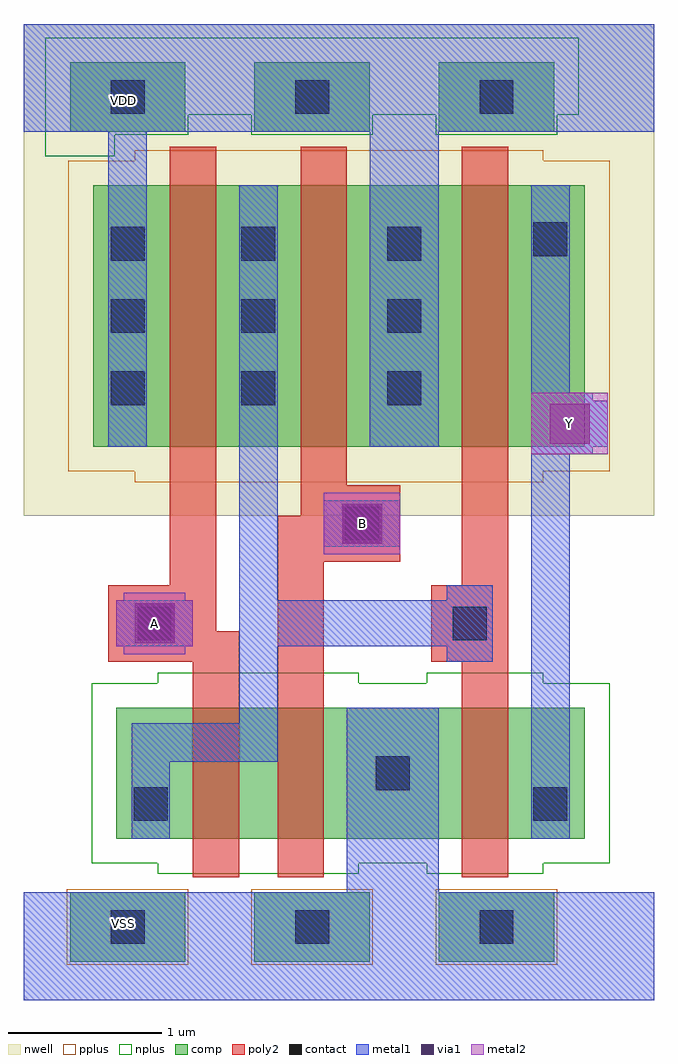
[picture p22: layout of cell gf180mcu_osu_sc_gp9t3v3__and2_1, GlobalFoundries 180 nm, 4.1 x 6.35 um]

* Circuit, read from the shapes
.subckt gf180mcu_osu_sc_gp9t3v3__and2_1 A B VDD VSS Y
XM1 n1 A n2 VSS nfet_03v3 w=0.85u l=0.3u
XM2 VSS B n1 VSS nfet_03v3 w=0.85u l=0.3u
XM3 Y n2 VSS VSS nfet_03v3 w=0.85u l=0.3u
XM4 n2 A VDD VDD pfet_03v3 w=1.7u l=0.3u
XM5 VDD B n2 VDD pfet_03v3 w=1.7u l=0.3u
XM6 Y n2 VDD VDD pfet_03v3 w=1.7u l=0.3u
.ends

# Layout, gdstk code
import gdstk
lib = gdstk.Library(unit=1e-6, precision=1e-09)
def R(c, l, rs):  # rectangles x0, y0, x1, y1
    for r in rs: c.add(gdstk.rectangle(r[:2], r[2:], *l))
def A(c, l, x, y, w, h, nx, ny, dx, dy):  # array of equal rectangles
    R(c, l, [(x+i*dx, y+j*dy, x+i*dx+w, y+j*dy+h) for i in range(nx) for j in range(ny)])
nwell = (21, 0)
comp = (22, 0)
poly2 = (30, 0)
pplus = (31, 0)
nplus = (32, 0)
contact = (33, 0)
metal1 = (34, 0)
via1 = (35, 0)
metal2 = (36, 0)

gf180mcu_osu_sc_gp9t3v3_ = lib.new_cell('gf180mcu_osu_sc_gp9t3v3__and2_1')
R(gf180mcu_osu_sc_gp9t3v3_, nwell, [(0,3.15,4.1,6.35)])
A(gf180mcu_osu_sc_gp9t3v3_, comp, 0.3, 0.25, 0.75, 0.45, 3, 2, 1.2, 5.4)
R(gf180mcu_osu_sc_gp9t3v3_, comp, [(0.6,1.05,3.65,1.9), (0.45,3.6,3.65,5.3)])
R(gf180mcu_osu_sc_gp9t3v3_, poly2, [(1.1,0.8,1.4,2.2), (1.65,0.8,1.95,2.85), (2.85,0.8,3.15,2.2), (0.55,2.2,1.4,2.4), (2.65,2.2,3.15,2.7), (0.55,2.4,1.25,2.7), (0.95,2.7,1.25,5.55), (2.85,2.7,3.15,5.55), (1.65,2.85,2.45,3.15), (1.8,3.15,2.45,3.35), (1.8,3.35,2.1,5.55)])
A(gf180mcu_osu_sc_gp9t3v3_, pplus, 0.28, 0.23, 0.79, 0.49, 3, 1, 1.2, 0)
R(gf180mcu_osu_sc_gp9t3v3_, pplus, [(0.72,3.37,3.38,3.44), (0.29,3.44,3.81,5.46), (0.72,5.46,3.38,5.53)])
R(gf180mcu_osu_sc_gp9t3v3_, nplus, [(0.87,0.82,2.18,0.89), (2.62,0.82,3.38,0.89), (0.44,0.89,3.81,2.06), (0.87,2.06,2.18,2.13), (2.62,2.06,3.38,2.13), (0.14,5.49,0.59,5.63), (0.14,5.63,1.07,5.76), (1.48,5.63,2.27,5.76), (2.68,5.63,3.47,5.76), (0.14,5.76,3.61,6.26)])
A(gf180mcu_osu_sc_gp9t3v3_, contact, 0.565, 0.365, 0.22, 0.22, 3, 2, 1.2, 5.4)
A(gf180mcu_osu_sc_gp9t3v3_, contact, 0.565, 3.87, 0.22, 0.22, 1, 3, 0, 0.47)
A(gf180mcu_osu_sc_gp9t3v3_, contact, 1.415, 3.87, 0.22, 0.22, 1, 3, 0, 0.47)
A(gf180mcu_osu_sc_gp9t3v3_, contact, 2.365, 3.87, 0.22, 0.22, 1, 3, 0, 0.47)
R(gf180mcu_osu_sc_gp9t3v3_, contact, [(0.715,1.165,0.935,1.385), (3.315,1.165,3.535,1.385), (2.29,1.365,2.51,1.585), (0.74,2.34,0.96,2.56), (2.79,2.34,3.01,2.56), (2.09,2.99,2.31,3.21), (3.315,4.84,3.535,5.06)])
R(gf180mcu_osu_sc_gp9t3v3_, metal1, [(0,0,4.1,0.7), (2.1,0.7,2.7,1.9), (0.7,1.05,0.95,1.55), (3.3,1.05,3.55,3.55), (0.7,1.55,1.65,1.8), (1.4,1.8,1.65,2.3), (2.75,2.2,3.05,2.3), (0.6,2.3,1.1,2.6), (1.4,2.3,3.05,2.6), (1.4,2.6,1.65,5.3), (2.75,2.6,3.05,2.7), (1.95,2.95,2.45,3.25), (3.3,3.55,3.7,3.6), (0.55,3.6,0.8,5.65), (2.25,3.6,2.7,5.65), (3.3,3.6,3.8,3.9), (3.3,3.9,3.7,3.95), (3.3,3.95,3.55,5.3), (0,5.65,4.1,6.35)])
R(gf180mcu_osu_sc_gp9t3v3_, via1, [(0.72,2.32,0.98,2.58), (2.07,2.97,2.33,3.23), (3.42,3.62,3.68,3.88)])
R(gf180mcu_osu_sc_gp9t3v3_, metal2, [(0.65,2.25,1.05,2.3), (0.6,2.3,1.1,2.6), (0.65,2.6,1.05,2.65), (1.95,2.9,2.45,3.3), (3.3,3.55,3.8,3.95)])
gf180mcu_osu_sc_gp9t3v3_.add(gdstk.Label('VDD', (0.65,5.85), layer=34, texttype=10))
gf180mcu_osu_sc_gp9t3v3_.add(gdstk.Label('VSS', (0.65,0.5), layer=34, texttype=10))
gf180mcu_osu_sc_gp9t3v3_.add(gdstk.Label('A', (0.85,2.45), layer=36, texttype=10))
gf180mcu_osu_sc_gp9t3v3_.add(gdstk.Label('B', (2.2,3.1), layer=36, texttype=10))
gf180mcu_osu_sc_gp9t3v3_.add(gdstk.Label('Y', (3.55,3.75), layer=36, texttype=10))

lib.write_gds('gf180mcu_osu_sc_gp9t3v3__and2_1.gds')
